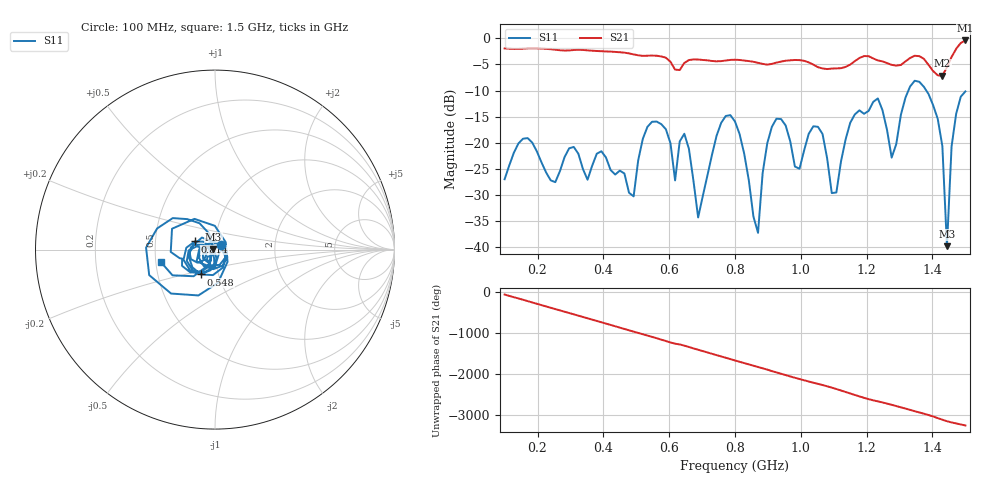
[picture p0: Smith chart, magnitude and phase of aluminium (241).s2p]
! NanoVNA-App
! Date: 2025-09-25 14:57:09
! Start: 100MHz Stop: 1,5GHz Points: 101
! S-Parameter data: F S11 S21 S12 S22
# Hz S RI R 50
!  Frequency  S11_Real  S11_Imag  S21_Real  S21_Imag  S12_Real  S12_Imag  S22_Real  S22_Imag
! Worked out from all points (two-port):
!   101 points, 100 MHz to 1.5 GHz, reference 50 ohm
!   highest |S21| = -0.40 dB at 1.5 GHz (marker M1); lowest = -7.1 dB at 1.43 GHz (marker M2)
!   |S21| within 3 dB of the highest: start of sweep to 569.8 MHz; 1.46 GHz to end of sweep (the widest 2 of 4)
!   lowest |S11| = -39.8 dB at 1.444 GHz (marker M3), VSWR 1.02, Z = 49 + j0.328 ohm
!   |S11| at or under -10 dB: start of sweep to 1.327 GHz; 1.381 GHz to end of sweep
!   S12 and S22 are empty: the file has one direction only
!   S11 on the Smith chart (normalised r, x): 100 MHz: 1.07, +0.06; 548 MHz: 0.82, -0.23; 814 MHz: 0.79, +0.07; 1.5 GHz: 0.53, -0.08
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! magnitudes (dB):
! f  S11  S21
! 100 MHz  -27.0  -1.9
! 338 MHz  -25.0  -2.2
! 492 MHz  -30.2  -3.1
! 548 MHz  -16.0  -3.3
! 576 MHz  -16.4  -3.5
! 618 MHz  -27.2  -6.0
! 646 MHz  -18.3  -4.7
! 688 MHz  -34.3  -4.1
! 800 MHz  -15.9  -4.1
! 814 MHz  -18.3  -4.1
! 870 MHz  -37.2  -4.7
! 912 MHz  -16.9  -4.9
! 996 MHz  -24.9  -4.2
! 1.038 GHz  -16.8  -5.0
! 1.094 GHz  -29.6  -5.8
! 1.234 GHz  -11.5  -4.2
! 1.276 GHz  -22.8  -5.1
! 1.346 GHz  -8.1  -3.3
! 1.43 GHz  -20.6  -7.1
! 1.444 GHz  -39.8  -5.5
! 1.458 GHz  -20.7  -3.6
! 1.5 GHz  -10.2  -0.4
